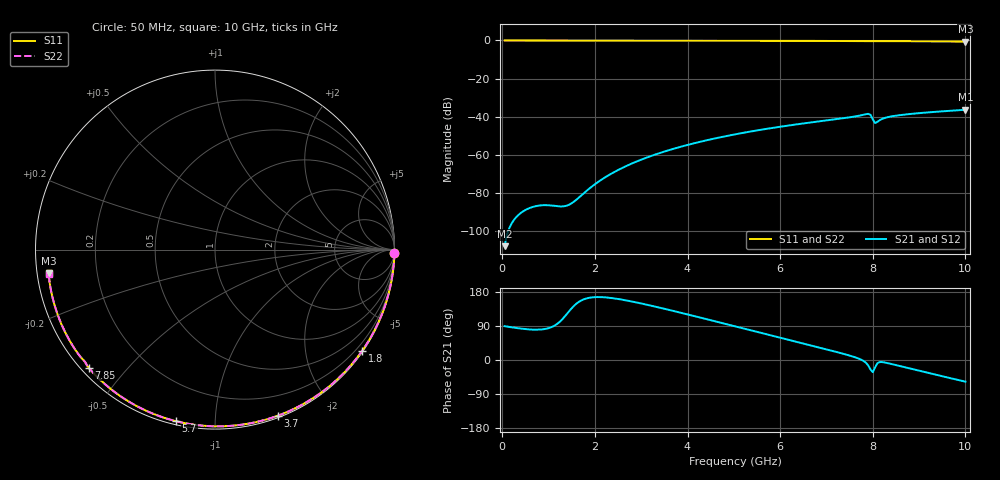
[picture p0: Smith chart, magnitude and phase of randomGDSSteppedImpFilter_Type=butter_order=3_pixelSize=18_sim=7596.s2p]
! freq	dB(S11)	phase(S11)	dB(S12)	phase(S12)
!  dB(S21)	phase(S21)	dB(S22)	phase(S22)
!S-par simulation data
#  GHz  S  DB  R 50
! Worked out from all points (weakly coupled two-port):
!   200 points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, 50 MHz to 10 GHz, reference 50 ohm
!   highest |S21| = -36.33 dB at 10 GHz (marker M1); lowest = -107.7 dB at 50 MHz (marker M2)
!   lowest |S11| = -0.6 dB at 10 GHz (marker M3), VSWR 30.69, Z = 1.64 - j3.54 ohm
!   |S11| at or under -10 dB: nowhere
!   |S22| runs from -0.6 to 0.0 dB; largest |S21 - S12| = 0
!   S11 on the Smith chart (normalised r, x): 50 MHz: open; 1.8 GHz: 0.03, -3.21; 3.7 GHz: 0.02, -1.45; 5.7 GHz: 0.02, -0.80; 7.85 GHz: 0.02, -0.39; 10 GHz: 0.03, -0.07
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0.05  -0.00 -1.0  -107.73 89.4  -107.73 89.4  -0.00 -1.0
0.9  -0.02 -17.5  -86.26 81.4  -86.26 81.4  -0.02 -17.5
1.75  -0.04 -33.7  -80.22 159.6  -80.22 159.6  -0.04 -33.6
1.8  -0.04 -34.7  -79.17 161.8  -79.17 161.8  -0.04 -34.6
2.15  -0.05 -41.2  -72.78 165.9  -72.78 165.9  -0.05 -41.1
2.5  -0.06 -47.7  -67.86 161.0  -67.86 161.0  -0.06 -47.6
2.9  -0.07 -55.0  -63.40 151.8  -63.40 151.8  -0.07 -54.8
3.4  -0.08 -63.9  -58.96 138.1  -58.96 138.1  -0.08 -63.8
3.7  -0.09 -69.2  -56.72 129.3  -56.72 129.3  -0.09 -69.0
4.35  -0.11 -80.4  -52.62 109.7  -52.62 109.7  -0.11 -80.2
5.05  -0.14 -92.1  -49.06 88.1  -49.06 88.1  -0.14 -91.9
5.7  -0.17 -102.7  -46.31 68.1  -46.31 68.1  -0.17 -102.5
6.7  -0.23 -118.7  -42.82 37.4  -42.82 37.4  -0.23 -118.5
7.5  -0.29 -131.4  -40.26 11.7  -40.26 11.7  -0.29 -131.1
7.85  -0.32 -137.0  -38.62 -7.0  -38.62 -7.0  -0.32 -136.7
7.9  -0.34 -137.8  -38.43 -14.1  -38.43 -14.1  -0.33 -137.5
7.95  -0.36 -138.6  -38.91 -24.9  -38.91 -24.9  -0.36 -138.3
8.05  -0.38 -139.9  -43.24 -19.5  -43.24 -19.5  -0.38 -139.6
8.2  -0.37 -142.3  -41.12 -5.4  -41.12 -5.4  -0.37 -142.0
8.35  -0.38 -144.7  -40.02 -9.0  -40.02 -9.0  -0.38 -144.4
8.9  -0.43 -153.5  -38.29 -25.5  -38.29 -25.5  -0.43 -153.2
10  -0.57 -171.9  -36.33 -57.2  -36.33 -57.2  -0.57 -171.5
